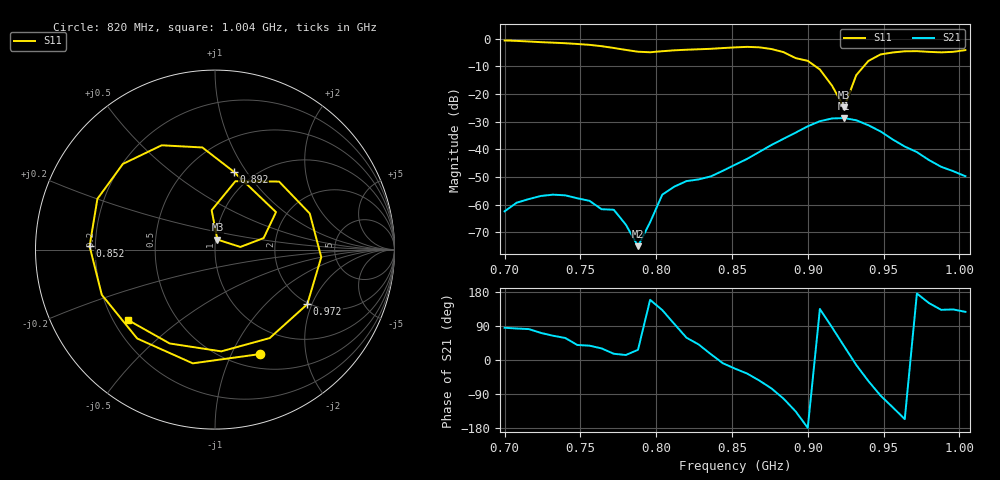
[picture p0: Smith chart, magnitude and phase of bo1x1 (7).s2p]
# Hz S RI R 50
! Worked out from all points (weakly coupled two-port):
!   39 points, 700 MHz to 1.004 GHz, reference 50 ohm
!   highest |S21| = -28.68 dB at 924 MHz (marker M1); lowest = -75.0 dB at 788 MHz (marker M2)
!   lowest |S11| = -24.8 dB at 924 MHz (marker M3), VSWR 1.12, Z = 51 + j5.71 ohm
!   |S11| at or under -10 dB: 905.2 MHz to 936.9 MHz (31.74 MHz wide, 3.45 % of centre)
!   S12 and S22 are empty: the file has one direction only
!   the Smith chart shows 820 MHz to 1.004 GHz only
!   S11 on the Smith chart (normalised r, x): 820 MHz: 0.66, -1.29; 852 MHz: 0.18, +0.01; 892 MHz: 0.81, +0.88; 972 MHz: 1.96, -1.85; 1.004 GHz: 0.26, -0.33
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7e8  0.7512 0.5519  6.45e-05 0.000757  0 0  0 0
7.24e8  0.8354 -0.2358  0.000459 0.00137  0 0  0 0
7.4e8  0.458 -0.6934  0.000781 0.00125  0 0  0 0
7.56e8  -0.1913 -0.7525  0.000927 0.000721  0 0  0 0
7.72e8  -0.6554 -0.1886  0.000777 0.00023  0 0  0 0
7.88e8  -0.2216 0.5393  0.000159 8.04e-05  0 0  0 0
7.96e8  0.2626 0.5064  -0.000449 0.000174  0 0  0 0
8.04e8  0.577 0.1475  -0.00101 0.00113  0 0  0 0
8.2e8  0.2492 -0.5823  0.00138 0.00229  0 0  0 0
8.36e8  -0.4334 -0.4954  0.00312 0.00087  0 0  0 0
8.52e8  -0.6988 0.0187  0.00486 -0.00204  0 0  0 0
8.76e8  -0.2971 0.5811  0.00314 -0.0116  0 0  0 0
8.92e8  0.1033 0.435  -0.0143 -0.0141  0 0  0 0
9e8  0.3399 0.2089  -0.0262 -0.000373  0 0  0 0
9.08e8  0.271 0.0642  -0.0227 0.023  0 0  0 0
9.24e8  0.0135 0.0557  0.0297 0.0218  0 0  0 0
9.32e8  -0.0187 0.2192  0.0328 -0.0076  0 0  0 0
9.4e8  0.1135 0.3807  0.0154 -0.0225  0 0  0 0
9.56e8  0.5281 0.2008  -0.00861 -0.0125  0 0  0 0
9.72e8  0.5141 -0.3045  -0.00891 0.000706  0 0  0 0
9.88e8  0.0348 -0.567  -0.00327 0.00358  0 0  0 0
1.004e9  -0.4863 -0.3914  -0.00197 0.00261  0 0  0 0
